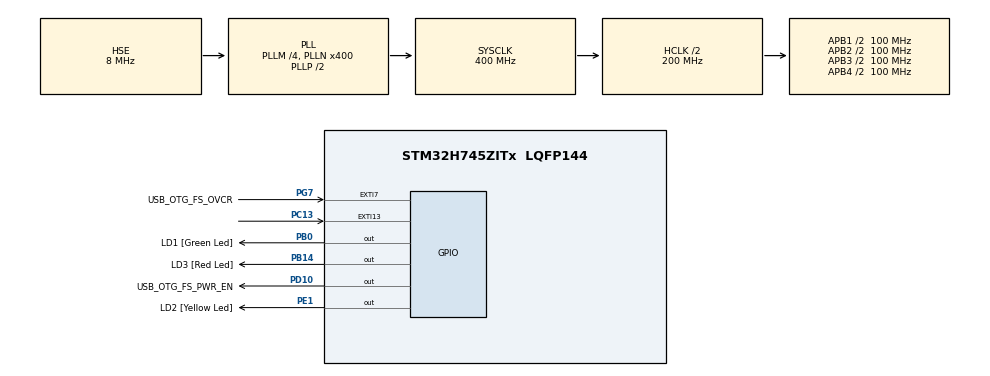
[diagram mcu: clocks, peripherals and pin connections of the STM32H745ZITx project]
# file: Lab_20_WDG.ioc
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CortexM4.IPs=FATFS_M4\:I,FREERTOS_M4\:I,IWDG2\:I,RCC,WWDG2\:I,DMA,BDMA,MDMA,NVIC2\:I,USART3,ETH,DEBUG,PDM2PCM_M4\:I,PWR,RESMGR_UTILITY,SYS_M4\:I,USB_DEVICE_M4\:I,USB_HOST_M4\:I,CORTEX_M4\:I,GPIO,OPENAMP_M4\:I,VREFBUF
CortexM7.IPs=FATFS_M7\:I,FREERTOS_M7\:I,IWDG1\:I,RCC\:I,WWDG1\:I,DMA\:I,BDMA\:I,MDMA\:I,NVIC1\:I,SYS\:I,USART3\:I,USB_OTG_FS\:I,ETH\:I,CORTEX_M7\:I,DEBUG\:I,PDM2PCM_M7\:I,PWR\:I,RESMGR_UTILITY\:I,USB_DEVICE_M7\:I,USB_HOST_M7\:I,GPIO\:I,OPENAMP_M7\:I,VREFBUF\:I
CortexM7.Pins=PC13,PB0,PB14,PE1
IWDG1.Prescaler=IWDG_PRESCALER_32
IWDG1.Reload=700
IWDG1.Window=400
Mcu.Family=STM32H7
Mcu.Name=STM32H745ZITx
Mcu.Package=LQFP144
NVIC1.EXTI15_10_IRQn=true\:0\:0\:false\:false\:true\:true\:true\:true
NVIC1.PriorityGroup=NVIC_PRIORITYGROUP_4
NVIC2.PriorityGroup=NVIC_PRIORITYGROUP_4
PA1.PinAttribute=CortexM7
PA1.Signal=ETH_REF_CLK
PA11.PinAttribute=CortexM7
PA11.Signal=USB_OTG_FS_DM
PA12.PinAttribute=CortexM7
PA12.Signal=USB_OTG_FS_DP
PA2.PinAttribute=CortexM7
PA2.Signal=ETH_MDIO
PA7.PinAttribute=CortexM7
PA7.Signal=ETH_CRS_DV
PA8.PinAttribute=CortexM7
PA8.Signal=USB_OTG_FS_SOF
PA9.PinAttribute=CortexM7
PA9.Signal=USB_OTG_FS_VBUS
PB0.GPIO_Label=LD1 [Green Led]
PB0.PinAttribute=CortexM7
PB0.Signal=GPIO_Output
PB13.PinAttribute=CortexM7
PB13.Signal=ETH_TXD1
PB14.GPIO_Label=LD3 [Red Led]
PB14.PinAttribute=CortexM7
PB14.Signal=GPIO_Output
PC1.PinAttribute=CortexM7
PC1.Signal=ETH_MDC
PC13.PinAttribute=CortexM7
PC13.Signal=GPXTI13
PC14-OSC32_IN\ (OSC32_IN).PinAttribute=CortexM7
PC14-OSC32_IN\ (OSC32_IN).Signal=RCC_OSC32_IN
PC15-OSC32_OUT\ (OSC32_OUT).PinAttribute=CortexM7
PC15-OSC32_OUT\ (OSC32_OUT).Signal=RCC_OSC32_OUT
PC4.PinAttribute=CortexM7
PC4.Signal=ETH_RXD0
PC5.PinAttribute=CortexM7
PC5.Signal=ETH_RXD1
PD10.GPIO_Label=USB_OTG_FS_PWR_EN
PD10.PinAttribute=Free
PD10.Signal=GPIO_Output
PD8.GPIO_Label=STLINK_RX
PD8.PinAttribute=CortexM7
PD8.Signal=USART3_TX
PD9.GPIO_Label=STLINK_TX
PD9.PinAttribute=CortexM7
PD9.Signal=USART3_RX
PE1.GPIO_Label=LD2 [Yellow Led]
PE1.PinAttribute=CortexM7
PE1.Signal=GPIO_Output
PG11.PinAttribute=CortexM7
PG11.Signal=ETH_TX_EN
PG13.PinAttribute=CortexM7
PG13.Signal=ETH_TXD0
PG7.GPIO_Label=USB_OTG_FS_OVCR
PG7.PinAttribute=Free
PG7.Signal=GPXTI7
PH0-OSC_IN\ (PH0).Mode=HSE-External-Clock-Source
PH0-OSC_IN\ (PH0).PinAttribute=CortexM7
PH0-OSC_IN\ (PH0).Signal=RCC_OSC_IN
PH1-OSC_OUT\ (PH1).PinAttribute=CortexM7
PH1-OSC_OUT\ (PH1).Signal=RCC_OSC_OUT
ProjectManager.HeapSize=M4-0x200,M7-0x200
ProjectManager.StackSize=M4-0x400,M7-0x400
ProjectManager.TargetToolchain=STM32CubeIDE
RCC.ADCFreq_Value=16125000
RCC.APB1Freq_Value=100000000
RCC.APB2Freq_Value=100000000
RCC.APB3Freq_Value=100000000
RCC.APB4Freq_Value=100000000
RCC.CortexFreq_Value=400000000
RCC.D1PPRE=RCC_APB3_DIV2
RCC.D2PPRE1=RCC_APB1_DIV2
RCC.D2PPRE2=RCC_APB2_DIV2
RCC.D3PPRE=RCC_APB4_DIV2
RCC.DIVM1=4
RCC.DIVM3=22
RCC.DIVN1=400
RCC.DIVN3=169
RCC.DIVQ3=4
RCC.HCLKFreq_Value=200000000
RCC.HPRE=RCC_HCLK_DIV2
RCC.HSE_VALUE=8000000
RCC.PLL2FRACN=0
RCC.PLL3FRACN=0
RCC.PLLFRACN=0
RCC.PLLSourceVirtual=RCC_PLLSOURCE_HSE
RCC.SYSCLKFreq_VALUE=400000000
RCC.SYSCLKSource=RCC_SYSCLKSOURCE_PLLCLK
RCC.SupplySource=PWR_DIRECT_SMPS_SUPPLY
RCC.USBCLockSelection=RCC_USBCLKSOURCE_PLL3
RCC.USBFreq_Value=15363636.363636363
VP_IWDG1_VS_IWDG.Mode=IWDG_Activate
VP_SYS_M4_VS_Systick.Mode=SysTick
board=NUCLEO-H745ZI-Q

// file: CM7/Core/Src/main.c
/* USER CODE BEGIN Header */
/**
  ******************************************************************************
  * @file           : main.c
  * @brief          : Main program body
  ******************************************************************************
  * @attention
  *
  * Copyright (c) 2023 STMicroelectronics.
  * All rights reserved.
  *
  * This software is licensed under terms that can be found in the LICENSE file
  * in the root directory of this software component.
  * If no LICENSE file comes with this software, it is provided AS-IS.
  *
  ******************************************************************************
  */
/* USER CODE END Header */
#include "main.h"

/* USER CODE BEGIN Includes */
#include "stm32h7xx_hal_tim.h"

/* USER CODE END Includes */

/* USER CODE BEGIN PD */

#ifndef HSEM_ID_0
#define HSEM_ID_0 (0U) /* HW semaphore 0*/
#endif
/* USER CODE END PD */

IWDG_HandleTypeDef hiwdg1;

/* USER CODE BEGIN PV */

/* In while loop, time to wait before refresh */
__IO uint32_t WaitingDelay = 0;

/* USER CODE END PV */

void SystemClock_Config(void);
static void MX_GPIO_Init(void);
static void MX_IWDG1_Init(void);

/* USER CODE BEGIN 0 */
uint32_t MyDelay = 450;

/* USER CODE END 0 */

int main(void)
{
/* USER CODE BEGIN Boot_Mode_Sequence_0 */
  int32_t timeout;
/* USER CODE END Boot_Mode_Sequence_0 */

/* USER CODE BEGIN Boot_Mode_Sequence_1 */
  /* Wait until CPU2 boots and enters in stop mode or timeout*/
  timeout = 0xFFFF;
  while((__HAL_RCC_GET_FLAG(RCC_FLAG_D2CKRDY) != RESET) && (timeout-- > 0));
  if ( timeout < 0 )
  {
  Error_Handler();
  }
/* USER CODE END Boot_Mode_Sequence_1 */
  /* MCU Configuration--------------------------------------------------------*/

  /* Reset of all peripherals, Initializes the Flash interface and the Systick. */
  HAL_Init();

  /* Configure the system clock */
  SystemClock_Config();
/* USER CODE BEGIN Boot_Mode_Sequence_2 */
/* When system initialization is finished, Cortex-M7 will release Cortex-M4 by means of
HSEM notification */
/*HW semaphore Clock enable*/
__HAL_RCC_HSEM_CLK_ENABLE();
/*Take HSEM */
HAL_HSEM_FastTake(HSEM_ID_0);
/*Release HSEM in order to notify the CPU2(CM4)*/
HAL_HSEM_Release(HSEM_ID_0,0);
/* wait until CPU2 wakes up from stop mode */
timeout = 0xFFFF;
while((__HAL_RCC_GET_FLAG(RCC_FLAG_D2CKRDY) == RESET) && (timeout-- > 0));
if ( timeout < 0 )
{
Error_Handler();
}
/* USER CODE END Boot_Mode_Sequence_2 */

  /* Initialize all configured peripherals */
  MX_GPIO_Init();
  /* USER CODE BEGIN 2 */

  /*## Check if the system has resumed from IWDG reset ######################*/
  if (__HAL_RCC_GET_FLAG(RCC_FLAG_IWDG1RST) != RESET)
  {
    /* IWDGRST flag set: Turn LED2 on */
    HAL_GPIO_WritePin(LD2_GPIO_Port, LD2_Pin, GPIO_PIN_SET);

    /* Insert 4s delay */
    HAL_Delay(4000);

    /* Prior to clear IWDGRST flag: Turn LED2 off */
    HAL_GPIO_WritePin(LD2_GPIO_Port, LD2_Pin, GPIO_PIN_RESET);
  }

  /* Clear reset flags anyway */
  __HAL_RCC_CLEAR_RESET_FLAGS();

  MX_IWDG1_Init();

  /* USER CODE END 2 */

  /* Infinite loop */
  while (1)
  {

    /* USER CODE BEGIN 3 */

    /* Toggle LED1 */
    HAL_GPIO_TogglePin(LD1_GPIO_Port, LD1_Pin);

    HAL_Delay(MyDelay);

    /* Refresh IWDG: reload counter */
    if(HAL_IWDG_Refresh(&hiwdg1) != HAL_OK)
    {
      /* Refresh Error */
      Error_Handler();
    }
  }
  /* USER CODE END 3 */
}

void SystemClock_Config(void)
{
  RCC_OscInitTypeDef RCC_OscInitStruct = {0};
  RCC_ClkInitTypeDef RCC_ClkInitStruct = {0};

  /** Supply configuration update enable
  */
  HAL_PWREx_ConfigSupply(PWR_DIRECT_SMPS_SUPPLY);

  /** Configure the main internal regulator output voltage
  */
  __HAL_PWR_VOLTAGESCALING_CONFIG(PWR_REGULATOR_VOLTAGE_SCALE1);

  while(!__HAL_PWR_GET_FLAG(PWR_FLAG_VOSRDY)) {}

  /** Initializes the RCC Oscillators according to the specified parameters
  * in the RCC_OscInitTypeDef structure.
  */
  RCC_OscInitStruct.OscillatorType = RCC_OSCILLATORTYPE_LSI|RCC_OSCILLATORTYPE_HSE;
  RCC_OscInitStruct.HSEState = RCC_HSE_BYPASS;
  RCC_OscInitStruct.LSIState = RCC_LSI_ON;
  RCC_OscInitStruct.PLL.PLLState = RCC_PLL_ON;
  RCC_OscInitStruct.PLL.PLLSource = RCC_PLLSOURCE_HSE;
  RCC_OscInitStruct.PLL.PLLM = 4;
  RCC_OscInitStruct.PLL.PLLN = 400;
  RCC_OscInitStruct.PLL.PLLP = 2;
  RCC_OscInitStruct.PLL.PLLQ = 2;
  RCC_OscInitStruct.PLL.PLLR = 2;
  RCC_OscInitStruct.PLL.PLLRGE = RCC_PLL1VCIRANGE_1;
  RCC_OscInitStruct.PLL.PLLVCOSEL = RCC_PLL1VCOWIDE;
  RCC_OscInitStruct.PLL.PLLFRACN = 0;
  if (HAL_RCC_OscConfig(&RCC_OscInitStruct) != HAL_OK)
  {
    Error_Handler();
  }

  /** Initializes the CPU, AHB and APB buses clocks
  */
  RCC_ClkInitStruct.ClockType = RCC_CLOCKTYPE_HCLK|RCC_CLOCKTYPE_SYSCLK
                              |RCC_CLOCKTYPE_PCLK1|RCC_CLOCKTYPE_PCLK2
                              |RCC_CLOCKTYPE_D3PCLK1|RCC_CLOCKTYPE_D1PCLK1;
  RCC_ClkInitStruct.SYSCLKSource = RCC_SYSCLKSOURCE_PLLCLK;
  RCC_ClkInitStruct.SYSCLKDivider = RCC_SYSCLK_DIV1;
  RCC_ClkInitStruct.AHBCLKDivider = RCC_HCLK_DIV2;
  RCC_ClkInitStruct.APB3CLKDivider = RCC_APB3_DIV2;
  RCC_ClkInitStruct.APB1CLKDivider = RCC_APB1_DIV2;
  RCC_ClkInitStruct.APB2CLKDivider = RCC_APB2_DIV2;
  RCC_ClkInitStruct.APB4CLKDivider = RCC_APB4_DIV2;

  if (HAL_RCC_ClockConfig(&RCC_ClkInitStruct, FLASH_LATENCY_2) != HAL_OK)
  {
    Error_Handler();
  }
}

static void MX_IWDG1_Init(void)
{

  hiwdg1.Instance = IWDG1;
  hiwdg1.Init.Prescaler = IWDG_PRESCALER_32;
  hiwdg1.Init.Window = 400;
  hiwdg1.Init.Reload = 700;
  if (HAL_IWDG_Init(&hiwdg1) != HAL_OK)
  {
    Error_Handler();
  }

}

static void MX_GPIO_Init(void)
{
  GPIO_InitTypeDef GPIO_InitStruct = {0};

  /* GPIO Ports Clock Enable */
  __HAL_RCC_GPIOC_CLK_ENABLE();
  __HAL_RCC_GPIOH_CLK_ENABLE();
  __HAL_RCC_GPIOA_CLK_ENABLE();
  __HAL_RCC_GPIOB_CLK_ENABLE();
  __HAL_RCC_GPIOD_CLK_ENABLE();
  __HAL_RCC_GPIOG_CLK_ENABLE();
  __HAL_RCC_GPIOE_CLK_ENABLE();

  /*Configure GPIO pin Output Level */
  HAL_GPIO_WritePin(GPIOB, LD1_Pin|LD3_Pin, GPIO_PIN_RESET);

  /*Configure GPIO pin Output Level */
  HAL_GPIO_WritePin(LD2_GPIO_Port, LD2_Pin, GPIO_PIN_RESET);

  /*Configure GPIO pin : PC13 */
  GPIO_InitStruct.Pin = GPIO_PIN_13;
  GPIO_InitStruct.Mode = GPIO_MODE_IT_RISING;
  GPIO_InitStruct.Pull = GPIO_NOPULL;
  HAL_GPIO_Init(GPIOC, &GPIO_InitStruct);

  /*Configure GPIO pins : PC1 PC4 PC5 */
  GPIO_InitStruct.Pin = GPIO_PIN_1|GPIO_PIN_4|GPIO_PIN_5;
  GPIO_InitStruct.Mode = GPIO_MODE_AF_PP;
  GPIO_InitStruct.Pull = GPIO_NOPULL;
  GPIO_InitStruct.Speed = GPIO_SPEED_FREQ_LOW;
  GPIO_InitStruct.Alternate = GPIO_AF11_ETH;
  HAL_GPIO_Init(GPIOC, &GPIO_InitStruct);

  /*Configure GPIO pins : PA1 PA2 PA7 */
  GPIO_InitStruct.Pin = GPIO_PIN_1|GPIO_PIN_2|GPIO_PIN_7;
  GPIO_InitStruct.Mode = GPIO_MODE_AF_PP;
  GPIO_InitStruct.Pull = GPIO_NOPULL;
  GPIO_InitStruct.Speed = GPIO_SPEED_FREQ_LOW;
  GPIO_InitStruct.Alternate = GPIO_AF11_ETH;
  HAL_GPIO_Init(GPIOA, &GPIO_InitStruct);

  /*Configure GPIO pins : LD1_Pin LD3_Pin */
  GPIO_InitStruct.Pin = LD1_Pin|LD3_Pin;
  GPIO_InitStruct.Mode = GPIO_MODE_OUTPUT_PP;
  GPIO_InitStruct.Pull = GPIO_NOPULL;
  GPIO_InitStruct.Speed = GPIO_SPEED_FREQ_LOW;
  HAL_GPIO_Init(GPIOB, &GPIO_InitStruct);

  /*Configure GPIO pin : PB13 */
  GPIO_InitStruct.Pin = GPIO_PIN_13;
  GPIO_InitStruct.Mode = GPIO_MODE_AF_PP;
  GPIO_InitStruct.Pull = GPIO_NOPULL;
  GPIO_InitStruct.Speed = GPIO_SPEED_FREQ_LOW;
  GPIO_InitStruct.Alternate = GPIO_AF11_ETH;
  HAL_GPIO_Init(GPIOB, &GPIO_InitStruct);

  /*Configure GPIO pins : PD8 PD9 */
  GPIO_InitStruct.Pin = GPIO_PIN_8|GPIO_PIN_9;
  GPIO_InitStruct.Mode = GPIO_MODE_AF_PP;
  GPIO_InitStruct.Pull = GPIO_NOPULL;
  GPIO_InitStruct.Speed = GPIO_SPEED_FREQ_LOW;
  GPIO_InitStruct.Alternate = GPIO_AF7_USART3;
  HAL_GPIO_Init(GPIOD, &GPIO_InitStruct);

  /*Configure GPIO pins : PA8 PA11 PA12 */
  GPIO_InitStruct.Pin = GPIO_PIN_8|GPIO_PIN_11|GPIO_PIN_12;
  GPIO_InitStruct.Mode = GPIO_MODE_AF_PP;
  GPIO_InitStruct.Pull = GPIO_NOPULL;
  GPIO_InitStruct.Speed = GPIO_SPEED_FREQ_LOW;
  GPIO_InitStruct.Alternate = GPIO_AF10_OTG1_FS;
  HAL_GPIO_Init(GPIOA, &GPIO_InitStruct);

  /*Configure GPIO pins : PG11 PG13 */
  GPIO_InitStruct.Pin = GPIO_PIN_11|GPIO_PIN_13;
  GPIO_InitStruct.Mode = GPIO_MODE_AF_PP;
  GPIO_InitStruct.Pull = GPIO_NOPULL;
  GPIO_InitStruct.Speed = GPIO_SPEED_FREQ_LOW;
  GPIO_InitStruct.Alternate = GPIO_AF11_ETH;
  HAL_GPIO_Init(GPIOG, &GPIO_InitStruct);

  /*Configure GPIO pin : LD2_Pin */
  GPIO_InitStruct.Pin = LD2_Pin;
  GPIO_InitStruct.Mode = GPIO_MODE_OUTPUT_PP;
  GPIO_InitStruct.Pull = GPIO_NOPULL;
  GPIO_InitStruct.Speed = GPIO_SPEED_FREQ_LOW;
  HAL_GPIO_Init(LD2_GPIO_Port, &GPIO_InitStruct);

  /* EXTI interrupt init*/
  HAL_NVIC_SetPriority(EXTI15_10_IRQn, 0, 0);
  HAL_NVIC_EnableIRQ(EXTI15_10_IRQn);

}

/* USER CODE BEGIN 4 */

/**
  * @brief  EXTI line detection callback to decrease waiting delay. That will make
            refresh being outside window value.
  * @param  GPIO_Pin: Specifies the port pin connected to corresponding EXTI line.
  * @retval None
  */
void HAL_GPIO_EXTI_Callback(uint16_t GPIO_Pin)
{
  if(GPIO_Pin == GPIO_PIN_13)
  {
    /* As the following address is invalid (not mapped), a Hardfault exception
    will be generated with an infinite loop and when the WDG counter falls to 0
    the WDG reset occurs */
//    *(__IO uint32_t *) 0xA0003000 = 0xFF;
	  MyDelay = 100;
  }
}

/* USER CODE END 4 */

void Error_Handler(void)
{
  /* USER CODE BEGIN Error_Handler_Debug */

  /* Turn LED3 on */
  HAL_GPIO_WritePin(LD3_GPIO_Port, LD3_Pin, GPIO_PIN_SET);

  /* User can add his own implementation to report the HAL error return state */
  __disable_irq();
  while (1)
  {
  }
  /* USER CODE END Error_Handler_Debug */
}
